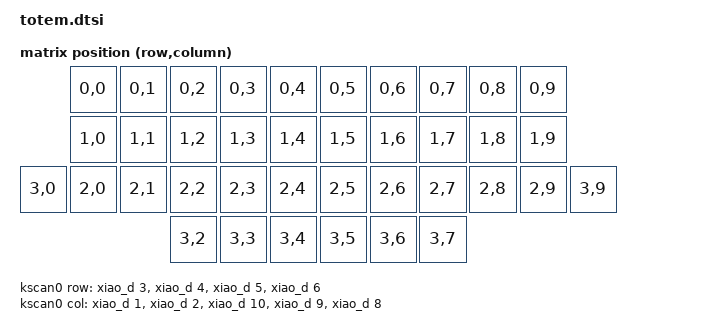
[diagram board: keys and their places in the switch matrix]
/*
 * TOTEM Clone - Correct pin mapping from PCB labels
 * Rows: R0=D6, R1=D5, R2=D4, R3=D3
 * Cols: C0=D2, C1=D1, C2=D10, C3=D9, C4=D8
 */

#include <dt-bindings/zmk/matrix_transform.h>

/ {
    chosen {
        zmk,kscan = &kscan0;
        zmk,matrix_transform = &default_transform;
    };

    default_transform: keymap_transform_0 {
        compatible = "zmk,matrix-transform";
        columns = <10>;
        rows = <4>;
        map = <
                RC(0,0) RC(0,1) RC(0,2) RC(0,3) RC(0,4)    RC(0,5) RC(0,6) RC(0,7) RC(0,8) RC(0,9)
                RC(1,0) RC(1,1) RC(1,2) RC(1,3) RC(1,4)    RC(1,5) RC(1,6) RC(1,7) RC(1,8) RC(1,9)
        RC(3,0) RC(2,0) RC(2,1) RC(2,2) RC(2,3) RC(2,4)    RC(2,5) RC(2,6) RC(2,7) RC(2,8) RC(2,9) RC(3,9)
                                RC(3,2) RC(3,3) RC(3,4)    RC(3,5) RC(3,6) RC(3,7)
        >;
    };

    kscan0: kscan_0 {
        compatible = "zmk,kscan-gpio-matrix";
        label = "KSCAN";

        diode-direction = "row2col";

        row-gpios
            = <&xiao_d 3 GPIO_ACTIVE_HIGH>
            , <&xiao_d 4 GPIO_ACTIVE_HIGH>
            , <&xiao_d 5 GPIO_ACTIVE_HIGH>
            , <&xiao_d 6 GPIO_ACTIVE_HIGH>
            ;

        col-gpios
            = <&xiao_d 1 (GPIO_ACTIVE_HIGH | GPIO_PULL_DOWN)>
            , <&xiao_d 2 (GPIO_ACTIVE_HIGH | GPIO_PULL_DOWN)>
            , <&xiao_d 10 (GPIO_ACTIVE_HIGH | GPIO_PULL_DOWN)>
            , <&xiao_d 9 (GPIO_ACTIVE_HIGH | GPIO_PULL_DOWN)>
            , <&xiao_d 8 (GPIO_ACTIVE_HIGH | GPIO_PULL_DOWN)>
            ;
    };
};
